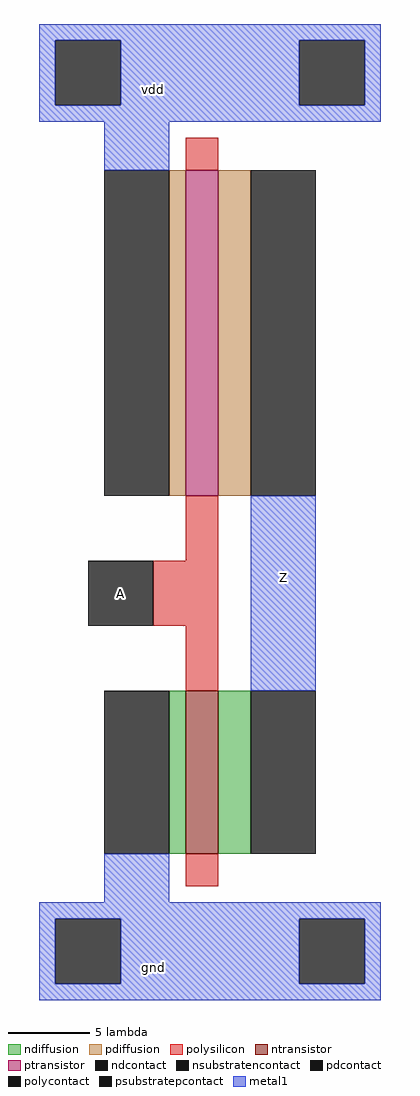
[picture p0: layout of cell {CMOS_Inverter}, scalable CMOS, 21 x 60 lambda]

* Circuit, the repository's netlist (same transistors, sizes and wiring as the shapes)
* SPICE3 file created from {CMOS_Inverter}.ext - technology: scmos

.option scale=0.3u

M1000 Z A gnd Gnd nfet w=10 l=2
+  ad=60 pd=32 as=50 ps=30
M1001 Z A vdd Vdd pfet w=20 l=2
+  ad=120 pd=52 as=100 ps=50

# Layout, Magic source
magic
tech scmos
<< ntransistor >>
rect 5 -22 7 -12
<< ptransistor >>
rect 5 0 7 20
<< ndiffusion >>
rect 4 -22 5 -12
rect 7 -22 9 -12
<< pdiffusion >>
rect 4 0 5 20
rect 7 0 9 20
<< ndcontact >>
rect 0 -22 4 -12
rect 9 -22 13 -12
<< pdcontact >>
rect 0 0 4 20
rect 9 0 13 20
<< psubstratepcontact >>
rect -3 -30 1 -26
rect 12 -30 16 -26
<< nsubstratencontact >>
rect -3 24 1 28
rect 12 24 16 28
<< polysilicon >>
rect 5 20 7 22
rect 5 -4 7 0
rect 3 -8 7 -4
rect 5 -12 7 -8
rect 5 -24 7 -22
<< polycontact >>
rect -1 -8 3 -4
<< metal1 >>
rect -4 28 17 29
rect -4 24 -3 28
rect 1 24 12 28
rect 16 24 17 28
rect -4 23 17 24
rect 0 20 4 23
rect 9 -12 13 0
rect 0 -25 4 -22
rect -4 -26 17 -25
rect -4 -30 -3 -26
rect 1 -30 12 -26
rect 16 -30 17 -26
rect -4 -31 17 -30
<< labels >>
rlabel metal1 3 25 3 25 5 vdd
rlabel metal1 3 -29 3 -29 1 gnd
rlabel metal1 11 -5 11 -5 1 Z
rlabel polycontact 1 -6 1 -6 3 A
<< end >>
